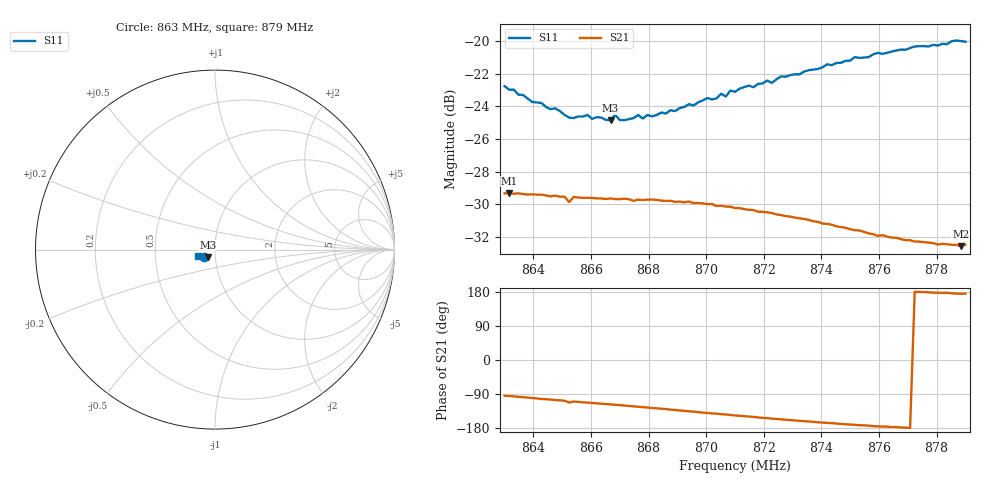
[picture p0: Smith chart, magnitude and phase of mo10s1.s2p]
# HZ S RI R 50
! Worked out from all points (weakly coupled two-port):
!   101 points, 863 MHz to 879 MHz, reference 50 ohm
!   highest |S21| = -29.31 dB at 863.16 MHz (marker M1); lowest = -32.6 dB at 878.84 MHz (marker M2)
!   lowest |S11| = -24.8 dB at 866.68 MHz (marker M3), VSWR 1.12, Z = 46 - j3.78 ohm
!   |S11| at or under -10 dB: start of sweep to end of sweep
!   S12 and S22 are empty: the file has one direction only
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8.63e8  -0.0595 -0.0418  -0.00257 -0.034  0 0  0 0
8.6316e8  -0.0579 -0.0411  -0.00297 -0.0341  0 0  0 0
8.6508e8  -0.0452 -0.0386  -0.00996 -0.0318  0 0  0 0
8.6524e8  -0.0446 -0.0375  -0.0122 -0.0297  0 0  0 0
8.654e8  -0.0436 -0.0384  -0.0112 -0.0313  0 0  0 0
8.6572e8  -0.0431 -0.0399  -0.0123 -0.0307  0 0  0 0
8.6668e8  -0.0399 -0.041  -0.0149 -0.0294  0 0  0 0
8.6684e8  -0.0412 -0.0428  -0.0156 -0.0289  0 0  0 0
8.67e8  -0.0402 -0.0408  -0.0159 -0.0286  0 0  0 0
8.6716e8  -0.0387 -0.0422  -0.0166 -0.0284  0 0  0 0
8.6844e8  -0.038 -0.047  -0.0203 -0.0253  0 0  0 0
8.7004e8  -0.041 -0.0529  -0.0242 -0.0204  0 0  0 0
8.7036e8  -0.0402 -0.0534  -0.0245 -0.0194  0 0  0 0
8.7052e8  -0.0416 -0.055  -0.025 -0.0188  0 0  0 0
8.7068e8  -0.041 -0.0538  -0.0251 -0.0184  0 0  0 0
8.7084e8  -0.0436 -0.0554  -0.0254 -0.0178  0 0  0 0
8.71e8  -0.0427 -0.0553  -0.0256 -0.0171  0 0  0 0
8.7372e8  -0.0558 -0.0598  -0.0268 -0.00806  0 0  0 0
8.7516e8  -0.0681 -0.0578  -0.026 -0.00404  0 0  0 0
8.7644e8  -0.0766 -0.0526  -0.0249 -0.00131  0 0  0 0
8.7884e8  -0.0928 -0.0373  -0.0234 0.00213  0 0  0 0
8.79e8  -0.0925 -0.0368  -0.0237 0.00201  0 0  0 0
